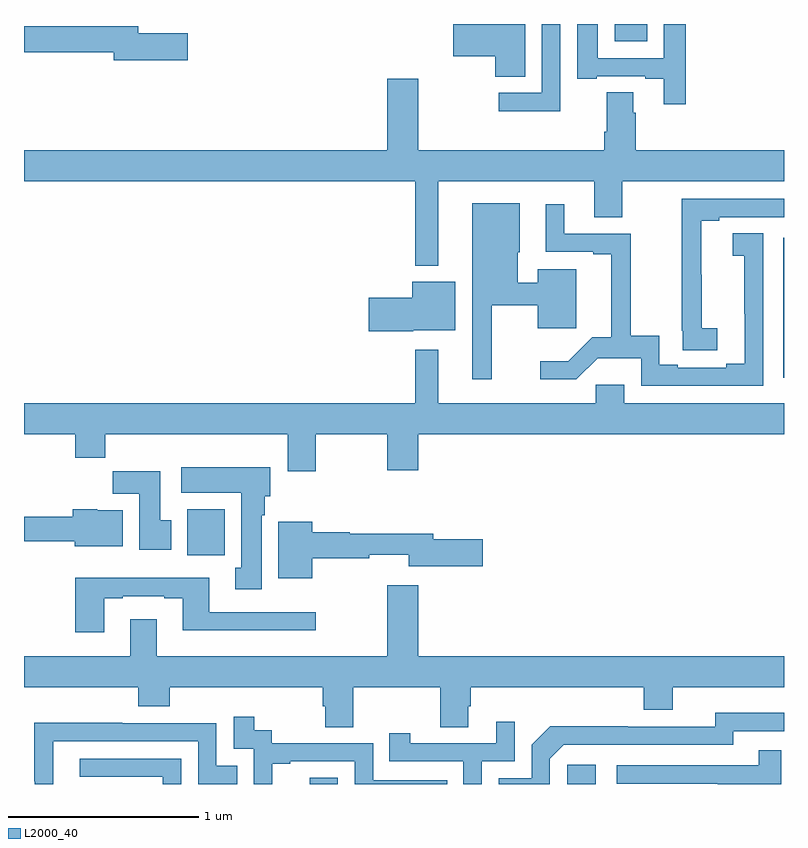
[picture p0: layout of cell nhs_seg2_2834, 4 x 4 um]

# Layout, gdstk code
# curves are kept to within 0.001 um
import gdstk
lib = gdstk.Library(unit=1e-6, precision=1e-09)
def R(c, l, rs):  # rectangles x0, y0, x1, y1
    for r in rs: c.add(gdstk.rectangle(r[:2], r[2:], *l))
def P(c, l, *ps):  # polygons
    for p in ps: c.add(gdstk.Polygon(p, *l))
L2000_40 = (2000, 40)

nhs_seg2_2834 = lib.new_cell('nhs_seg2_2834')
R(nhs_seg2_2834, L2000_40, [(260.505,641.8,260.652,641.833), (261.858,641.8,262.009,641.902), (259.859,643.004,260.056,643.246), (262.997,643.937,263,644.674), (262.109,645.71,262.279,645.8)])
P(nhs_seg2_2834, L2000_40, [(262.484,645.8),(262.368,645.8),(262.368,645.621),(262.021,645.621),(262.021,645.8),(261.911,645.8),(261.911,645.513),(262.015,645.513),(262.015,645.525),(262.271,645.525),(262.271,645.513),(262.367,645.513),(262.367,645.378),(262.484,645.378)],
  [(261.822,645.8),(261.726,645.8),(261.726,645.438),(261.498,645.438),(261.498,645.341),(261.822,645.341)],
  [(261.637,645.8),(261.258,645.8),(261.258,645.629),(261.481,645.629),(261.481,645.523),(261.637,645.523)],
  [(259.861,645.752),(259.6,645.752),(259.6,645.788),(259,645.788),(259,645.652),(259.472,645.652),(259.472,645.61),(259.861,645.61)],
  [(261.181,644.972),(262.001,644.972),(262.001,644.782),(262.149,644.782),(262.149,644.972),(263,644.972),(263,645.136),(262.22,645.136),(262.22,645.332),(262.207,645.332),(262.207,645.44),(262.067,645.44),(262.067,645.232),(262.055,645.232),(262.055,645.136),(261.076,645.136),(261.076,645.511),(260.912,645.511),(260.912,645.136),(259,645.136),(259,644.972),(261.06,644.972),(261.06,644.528),(261.181,644.528)],
  [(262.648,644.198),(262.566,644.198),(262.566,644.481),(262.564,644.481),(262.564,644.764),(262.66,644.764),(262.66,644.784),(263,644.784),(263,644.88),(262.462,644.88),(262.462,644.185),(262.468,644.185),(262.468,644.083),(262.648,644.083)],
  [(261.463,644.32),(261.704,644.32),(261.704,644.199),(261.907,644.199),(261.907,644.509),(261.704,644.509),(261.704,644.437),(261.598,644.437),(261.598,644.598),(261.61,644.598),(261.61,644.857),(261.359,644.857),(261.359,643.929),(261.463,643.929)],
  [(262.89,644.699),(262.731,644.699),(262.731,644.579),(262.792,644.579),(262.793,644.012),(262.697,644.012),(262.697,643.992),(262.441,643.992),(262.441,644.006),(262.344,644.006),(262.344,644.159),(262.193,644.159),(262.193,644.697),(261.844,644.697),(261.844,644.851),(261.746,644.851),(261.746,644.601),(261.995,644.601),(261.995,644.589),(262.091,644.589),(262.091,644.152),(261.991,644.152),(261.865,644.026),(261.717,644.026),(261.717,643.929),(261.906,643.929),(262.019,644.042),(262.248,644.042),(262.248,643.896),(262.89,643.896)],
  [(261.048,644.189),(261.271,644.189),(261.271,644.443),(261.044,644.443),(261.044,644.36),(260.814,644.36),(260.814,644.182),(261.048,644.182)],
  [(260.535,643.64),(260.912,643.64),(260.912,643.452),(261.076,643.452),(261.076,643.64),(263,643.64),(263,643.804),(262.159,643.804),(262.159,643.902),(262.008,643.902),(262.008,643.804),(261.181,643.804),(261.181,644.086),(261.06,644.086),(261.06,643.804),(259,643.804),(259,643.64),(259.271,643.64),(259.271,643.516),(259.427,643.516),(259.427,643.64),(260.387,643.64),(260.387,643.446),(260.535,643.446)],
  [(260.251,643.214),(260.266,643.214),(260.266,643.314),(260.296,643.314),(260.296,643.468),(259.827,643.468),(259.827,643.334),(260.144,643.334),(260.144,642.938),(260.111,642.938),(260.111,642.825),(260.251,642.825)],
  [(259.774,643.188),(259.717,643.188),(259.717,643.447),(259.468,643.447),(259.468,643.328),(259.607,643.328),(259.607,643.032),(259.774,643.032)],
  [(259.519,643.24),(259.386,643.24),(259.386,643.246),(259.256,643.246),(259.256,643.207),(259,643.207),(259,643.078),(259.268,643.078),(259.268,643.052),(259.519,643.052)],
  [(260.518,642.988),(260.816,642.988),(260.816,643.007),(261.026,643.007),(261.026,642.946),(261.415,642.946),(261.415,643.088),(261.154,643.088),(261.154,643.117),(260.714,643.117),(260.714,643.124),(260.518,643.124),(260.518,643.18),(260.339,643.18),(260.339,642.884),(260.518,642.884)],
  [(259.423,642.777),(259.519,642.777),(259.519,642.789),(259.739,642.789),(259.739,642.777),(259.835,642.777),(259.835,642.608),(260.536,642.608),(260.536,642.705),(259.975,642.705),(259.975,642.886),(259.271,642.886),(259.271,642.6),(259.423,642.6)],
  [(260.733,642.308),(261.19,642.308),(261.19,642.1),(261.337,642.1),(261.337,642.21),(261.35,642.21),(261.35,642.308),(262.262,642.308),(262.262,642.191),(262.414,642.191),(262.414,642.308),(263,642.308),(263,642.472),(261.076,642.472),(261.076,642.847),(260.912,642.847),(260.912,642.472),(259.699,642.472),(259.699,642.667),(259.559,642.667),(259.559,642.472),(259,642.472),(259,642.308),(259.601,642.308),(259.601,642.209),(259.766,642.209),(259.766,642.308),(260.573,642.308),(260.573,642.21),(260.585,642.21),(260.585,642.1),(260.733,642.1)],
  [(261.768,641.934),(261.84,642.006),(262.734,642.006),(262.734,642.078),(263,642.078),(263,642.175),(262.638,642.175),(262.638,642.102),(262.178,642.102),(262.178,642.104),(261.77,642.104),(261.672,642.006),(261.672,641.829),(261.498,641.829),(261.498,641.8),(261.768,641.8)],
  [(260.306,641.907),(260.401,641.907),(260.401,641.919),(260.742,641.919),(260.742,641.8),(261.227,641.8),(261.227,641.82),(260.838,641.82),(260.838,642.015),(260.304,642.015),(260.304,642.084),(260.212,642.084),(260.212,642.154),(260.103,642.154),(260.103,641.985),(260.208,641.985),(260.208,641.8),(260.306,641.8)],
  [(261.408,641.919),(261.582,641.919),(261.582,642.127),(261.485,642.127),(261.485,642.015),(261.034,642.015),(261.034,642.067),(260.923,642.067),(260.923,641.919),(261.312,641.919),(261.312,641.8),(261.408,641.8)],
  [(259.153,642.024),(259.917,642.024),(259.917,641.8),(260.123,641.8),(260.123,641.895),(260.013,641.895),(260.013,642.12),(259.517,642.12),(259.517,642.122),(259.054,642.122),(259.054,641.815),(259.056,641.815),(259.056,641.8),(259.153,641.8)],
  [(262.985,641.977),(262.867,641.977),(262.867,641.898),(262.119,641.898),(262.119,641.802),(262.651,641.802),(262.651,641.8),(262.985,641.8)],
  [(259.827,641.934),(259.293,641.934),(259.293,641.838),(259.731,641.838),(259.731,641.8),(259.827,641.8)])

lib.write_gds('nhs_seg2_2834.gds')
